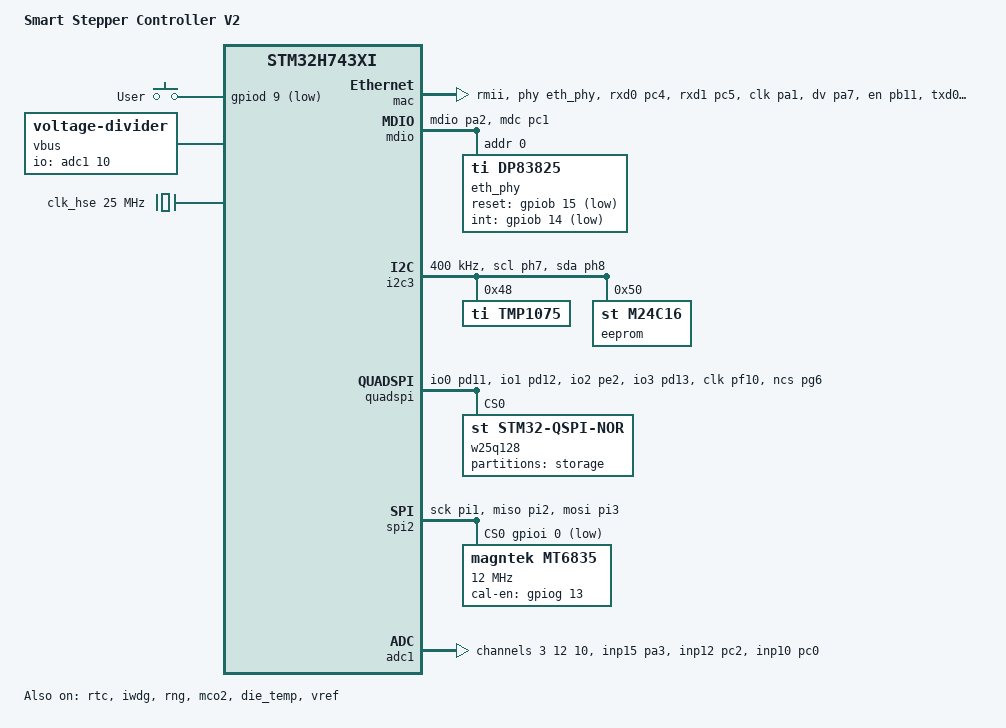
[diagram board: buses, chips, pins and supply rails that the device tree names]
/*
 * Copyright (c) 2025 Rubus Technologies Inc.
 * SPDX-License-Identifier: Apache-2.0
 */

/dts-v1/;
#include <st/h7/stm32h743Xi.dtsi>
#include <st/h7/stm32h743zitx-pinctrl.dtsi>
#include <zephyr/dt-bindings/input/input-event-codes.h>
#include <zephyr/dt-bindings/timer/stm32-timer.h>
#include <zephyr/dt-bindings/pwm/pwm.h>
#include <dt-bindings/pwm/stm32-mcpwm.h>

/ {
	model = "Smart Stepper Controller V2";
	compatible = "rubus,smartstepper_v2";

	chosen {
		// zephyr,console = &usart1;
		// zephyr,shell-uart = &usart1;
		zephyr,sram = &sram0;
		zephyr,flash = &flash0;
		zephyr,ccm = &ccm0;
		zephyr,canbus = &fdcan1;
		zephyr,code-partition = &slot0_partition;
	};

	gpio_keys {
		compatible = "gpio-keys";
		user_button: button {
			label = "User";
			gpios = <&gpiod 9 (GPIO_ACTIVE_LOW | GPIO_PULL_UP)>;
			zephyr,code = <INPUT_KEY_0>;
		};
	};

	aliases {
		watchdog0 = &iwdg;
		sw0 = &user_button;	
		// encoder0 = &mt6835;
		die-temp0 = &die_temp;
		volt-sensor0 = &vref;
	};

	vbus {
		compatible = "voltage-divider";
		io-channels = <&adc1 10>;
		output-ohms = <10000>;
		full-ohms = <(191000 + 10000)>;
	};
};

&clk_lsi {
	status = "okay";
};

&clk_hsi {
	status = "disabled";
};

&clk_hse {
	clock-frequency = <DT_FREQ_M(25)>;
	hse-bypass;
	status = "okay";
};

&clk_hsi48 {
	status = "okay";
};

&pll {
	div-m = <5>;
	mul-n = <192>;
	div-p = <2>;
	div-q = <5>;    /* 192 MHz */
	div-r = <2>;
	clocks = <&clk_hse>;
	status = "okay";
};

&pll2 {
	div-m = <5>;
	mul-n = <48>;
	div-p = <2>;
	div-q = <3>; /* gives 80 MHz to the FDCAN */
	div-r = <2>;
	clocks = <&clk_hse>;
	status = "okay";
};

&rcc {
	clocks = <&pll>;
	clock-frequency = <DT_FREQ_M(480)>;
	d1cpre = <1>;
	hpre = <2>;
	d1ppre = <2>;
	d2ppre1 = <2>;
	d2ppre2 = <2>;
	d3ppre = <2>;
};

&rtc {
	clocks = <&rcc STM32_CLOCK(APB4, 16)>,
		 <&rcc STM32_SRC_LSI RTC_SEL(2)>;
	status = "okay";
};

&iwdg {
	status = "okay";
};

&rng {
	status = "okay";
};

&mco2 {
	clocks = <&rcc STM32_SRC_HSE MCO2_SEL(MCO2_SEL_HSE)>;
	prescaler = <MCO2_PRE(MCO_PRE_DIV_1)>;
	pinctrl-0 = <&rcc_mco_2_pc9>;
	pinctrl-names = "default";
	status = "okay";
};

&dmamux1 {
	status = "okay";
};

&dma1 {
	status = "okay";
};

&dma2 {
	status = "okay";
};

&mac {
	status = "okay";
	pinctrl-0 = <&eth_rxd0_pc4
		     &eth_rxd1_pc5
		     &eth_ref_clk_pa1
		     &eth_crs_dv_pa7
		     &eth_tx_en_pb11
		     &eth_txd0_pb12
		     &eth_txd1_pb13>;
	pinctrl-names = "default";
	phy-connection-type = "rmii";
	phy-handle = <&eth_phy>;
};

&mdio {
	status = "okay";
	pinctrl-0 = <&eth_mdio_pa2 &eth_mdc_pc1>;
	pinctrl-names = "default";

	eth_phy: ethernet-phy@0 {
		status = "okay";
		compatible = "ti,dp83825";
		reg = <0>;
		reset-gpios = <&gpiob 15 GPIO_ACTIVE_LOW>;
		int-gpios = <&gpiob 14 GPIO_ACTIVE_LOW>;
		ti,interface-type = "rmii-25MHz";
	};

	// eth_phy: ethernet-phy@0 {
	// 	status = "okay";
	// 	compatible = "ethernet-phy";
	// 	reg = <0x00>;
	// };
};

&i2c1 {
	pinctrl-0 = <&i2c1_scl_pb8 &i2c1_sda_pb9>;
	pinctrl-names = "default";
	clock-frequency = <I2C_BITRATE_FAST>;
	status = "disabled";
};

&i2c3 {
	pinctrl-0 = <&i2c3_scl_ph7 &i2c3_sda_ph8>;
	pinctrl-names = "default";
	status = "okay";
	clock-frequency = <I2C_BITRATE_FAST>;

	tmp1075: tmp1075@48 {
		compatible = "ti,tmp1075";
		reg = <0x48>;
		conversion-rate = <220000>;
		consecutive-fault-measurements = <4>;
		status = "okay";
	};

	eeprom: eeprom@50 {
		compatible = "st,m24c16", "st,m24xxx", "atmel,at24";
		reg = <0x50>;
		size = <DT_SIZE_K(2)>;
		pagesize = <16>;
		address-width = <8>;
		timeout = <5>;
		status = "okay";
	};

};

&usart1 {
	pinctrl-0 = <&usart1_tx_pb6 &usart1_rx_pb7>;
	pinctrl-names = "default";
	current-speed = <115200>;
	status = "disabled";
};

&quadspi {
	pinctrl-0 = <&quadspi_bk1_io0_pd11 &quadspi_bk1_io1_pd12 &quadspi_bk1_io2_pe2
		     &quadspi_bk1_io3_pd13 &quadspi_clk_pf10 &quadspi_bk1_ncs_pg6>;
	pinctrl-names = "default";
	status = "okay";

	w25q128: w25q128@0 {
		compatible = "st,stm32-qspi-nor";
		reg = <0>;
		size = <DT_SIZE_M(128)>;	/* 128 Mbits (16 MB) */
		jedec-id = [ef 40 18];
		qspi-max-frequency = <DT_FREQ_M(100)>;
		cs-high-time = <2>;
		status = "okay";
		spi-bus-width = <4>;
		writeoc = "PP_1_4_4";
		reset-cmd;
		reset-cmd-wait = <2000>;		

		partitions {
			compatible = "fixed-partitions";
			#address-cells = < 1 >;
			#size-cells = < 1 >;

			storage_partition: partition@0 {
				label = "storage";
				reg=< 0x0 DT_SIZE_K(1024) >;
			};
		};
	};
};

&spi2 {
	pinctrl-0 = <&spi2_sck_pi1 &spi2_miso_pi2 &spi2_mosi_pi3>;
	pinctrl-names = "default";
	cs-gpios = <&gpioi 0 (GPIO_ACTIVE_LOW | GPIO_PULL_UP)>;
	status = "okay";

	mt6835: mt6835@0 {
		compatible = "magntek,mt6835";
		reg = <0>;
		spi-max-frequency = <DT_FREQ_M(12)>;
		cal-en-gpios = <&gpiog 13 GPIO_ACTIVE_HIGH>;
		status = "okay";
	};
};

&spi3 {
	pinctrl-0 = <&spi3_sck_pc10 &spi3_miso_pc11 &spi3_mosi_pc12>;
	pinctrl-names = "default";
	cs-gpios = <&gpioa 15 (GPIO_ACTIVE_LOW | GPIO_PULL_UP)>;
	status = "disabled";
};

&fdcan1 {
	clocks = <&rcc STM32_CLOCK(APB1_2, 8)>,
		 <&rcc STM32_SRC_PLL2_Q FDCAN_SEL(2)>;
	pinctrl-0 = <&fdcan1_rx_pb8 &fdcan1_tx_pb9>;
	pinctrl-names = "default";
	status = "disabled";
};

zephyr_udc0: &usbotg_fs {
	pinctrl-0 = <&usb_otg_fs_dm_pb14 &usb_otg_fs_dp_pb15>;
	pinctrl-names = "default";
	status = "disabled";
};

&flash0 {
	partitions {
		compatible = "fixed-partitions";
		#address-cells = <1>;
		#size-cells = <1>;

		/* 128KB for bootloader */
		boot_partition: partition@0 {
			label = "mcuboot";
			reg = <0x00000000 DT_SIZE_K(128)>;
			read-only;
		};

		/* application image slot: 256KB */
		slot0_partition: partition@20000 {
			label = "image-0";
			reg = <0x00020000 DT_SIZE_K(256)>;
		};

		/* backup slot: 256KB */
		slot1_partition: partition@60000 {
			label = "image-1";
			reg = <0x00060000 DT_SIZE_K(256)>;
		};

		// /* storage: 256KB for settings */
		// storage_partition: partition@a0000 {
		// 	label = "storage";
		// 	reg = <0x000a0000 DT_SIZE_K(256)>;
		// };
	};
};

&timers1 {
	compatible = "rubus,stm32-timers";

	pwm1:mcpwm {
		compatible = "st,stm32-mcpwm";
		pinctrl-0 = <&tim1_ch1_pa8 &tim1_ch1n_pe8 &tim1_ch2_pa9 &tim1_ch2n_pb0 &tim1_bkin_pe15>;
		pinctrl-names = "default";
		st,break-enable;
		st,break-polarity = "low";
		st,dead-time = <0>;
		status = "disabled";
		#pwm-cells = <2>;
	};
};

&timers8 {
	compatible = "rubus,stm32-timers";

	pwm8:mcpwm {
		compatible = "st,stm32-mcpwm";
		pinctrl-0 = <&tim8_ch1_pc6 &tim8_ch1n_ph13 &tim8_ch2_pc7 &tim8_ch2n_ph14 &tim8_bkin_pi4>;
		pinctrl-names = "default";
		st,break-enable;
		st,break-polarity = "low";
		st,dead-time = <0>;
		status = "disabled";
		#pwm-cells = <2>;
	};
};

// &timers4 {
// 	status = "okay";

// 	pwm4: pwm {
// 		status = "disabled";
// 		pinctrl-0 = <&tim4_ch1_pd12 &tim4_ch2_pd13 &tim4_ch3_pd14 &tim4_ch4_pd15>;
// 		pinctrl-names = "default";
// 	};
// };

&pinctrl {
    tim1_bkin_pe15: tim1_bkin_pe15 {
        bias-pull-up;
    };
	tim8_bkin_pi4: tim8_bkin_pi4 {
		bias-pull-up;
	};
};

&adc1 {
	pinctrl-0 = <&adc1_inp15_pa3 &adc1_inp12_pc2 &adc1_inp10_pc0 >;
	pinctrl-names = "default";
	st,adc-clock-source = "SYNC";
	st,adc-prescaler = <4>;
	status = "okay";

	// 	  adc-trigger = <STM32_ADC_INJ_TRIG_TIM1_TRGO>;

	vref-mv = <3000>;

	#address-cells = <1>;
	#size-cells = <0>;

	channel@3 {
		reg = <3>;
		zephyr,gain = "ADC_GAIN_1";
		zephyr,reference = "ADC_REF_INTERNAL";
		zephyr,acquisition-time = <ADC_ACQ_TIME_DEFAULT>;
		zephyr,resolution = <16>;
	};

	channel@C {
		reg = <12>;
		zephyr,gain = "ADC_GAIN_1";
		zephyr,reference = "ADC_REF_INTERNAL";
		zephyr,acquisition-time = <ADC_ACQ_TIME_DEFAULT>;
		zephyr,resolution = <16>;
	};

	channel@A {
		reg = <10>;
		zephyr,gain = "ADC_GAIN_1";
		zephyr,reference = "ADC_REF_INTERNAL";
		zephyr,acquisition-time = <ADC_ACQ_TIME_DEFAULT>;
		zephyr,resolution = <16>;
	};
};

&die_temp {
	status = "okay";
};

&vref {
	status = "okay";
};
